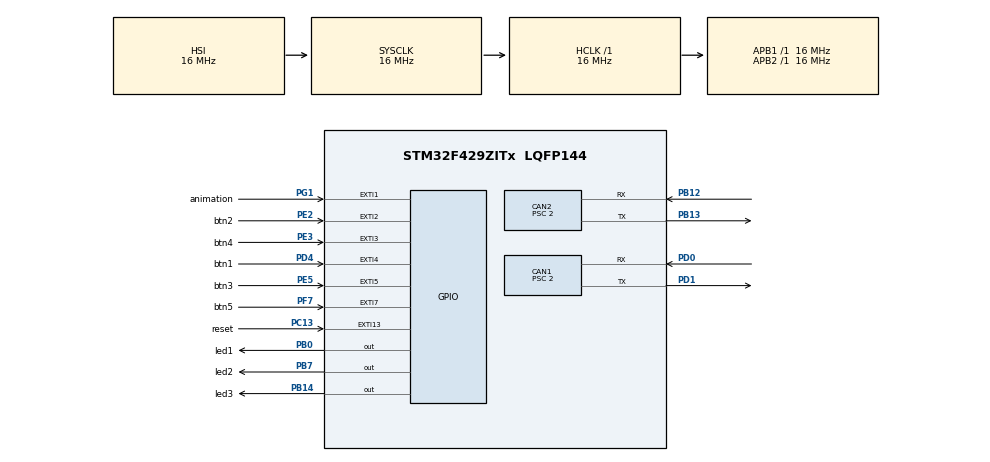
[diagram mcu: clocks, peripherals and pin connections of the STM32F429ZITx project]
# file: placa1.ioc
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Mcu.Family=STM32F4
CAN1.NART=ENABLE
RCC.CortexFreq_Value=16000000
CAN2.CalculateTimeBit=2000.00
PB14.GPIO_Label=led3
NVIC.EXTI3_IRQn=true\:15\:0\:true\:false\:true\:true\:true
PB0.GPIO_Label=led1
PC13.GPIO_Label=reset
PB13.Signal=CAN2_TX
ProjectManager.StackSize=0x400
NVIC.EXTI1_IRQn=true\:15\:0\:true\:false\:true\:true\:true
Mcu.UserConstants=CAN_PLACA1_ADDR,0x5B0;CAN_PLACA2_ADDR,0x5A0
PE5.GPIO_PuPd=GPIO_PULLDOWN
PF7.Signal=GPXTI7
PD4.Signal=GPXTI4
PD0.Signal=CAN1_RX
PE5.Signal=GPXTI5
RCC.AHBFreq_Value=16000000
NVIC.EXTI15_10_IRQn=true\:15\:0\:true\:false\:true\:true\:true
RCC.HSE_VALUE=25000000
PF7.GPIO_Label=btn5
CAN2.Prescaler=2
PE2.Signal=GPXTI2
PB7.Signal=GPIO_Output
PB7.GPIO_Label=led2
CAN1.Prescaler=2
Mcu.Package=LQFP144
PB12.Mode=CAN_Activate
CAN2.BS1=CAN_BS1_13TQ
CAN2.BS2=CAN_BS2_2TQ
PG1.GPIO_PuPd=GPIO_PULLDOWN
NVIC.EXTI2_IRQn=true\:15\:0\:true\:false\:true\:true\:true
PB13.Mode=CAN_Activate
CAN1.CalculateTimeBit=2000.00
PE2.GPIO_Label=btn2
CAN1.CalculateTimeQuantum=125.0
CAN2.CalculateBaudRate=500000
NVIC.EXTI4_IRQn=true\:15\:0\:true\:false\:true\:true\:true
CAN2.NART=ENABLE
PG1.Signal=GPXTI1
PC13.Signal=GPXTI13
CAN2.SJW=CAN_SJW_1TQ
CAN1.CalculateBaudRate=500000
PD1.Signal=CAN1_TX
PD1.GPIO_PuPd=GPIO_PULLUP
PD4.GPIO_PuPd=GPIO_PULLDOWN
CAN1.BS2=CAN_BS2_2TQ
CAN1.BS1=CAN_BS1_13TQ
ProjectManager.TargetToolchain=STM32CubeIDE
RCC.LSE_VALUE=32768
PB14.Signal=GPIO_Output
PE2.GPIO_PuPd=GPIO_PULLDOWN
board=custom
RCC.VCOOutputFreq_Value=192000000
PG1.GPIO_Label=animation
PD1.Mode=CAN_Activate
PB13.GPIO_PuPd=GPIO_PULLUP
RCC.APB2Freq_Value=16000000
PD4.GPIO_Label=btn1
CAN1.Mode=CAN_MODE_SILENT
CAN2.Mode=CAN_MODE_LOOPBACK
CAN2.CalculateTimeQuantum=125.0
PE3.GPIO_PuPd=GPIO_PULLDOWN
Mcu.Name=STM32F429ZITx
PD0.Mode=CAN_Activate
PF7.GPIO_PuPd=GPIO_PULLDOWN
RCC.SYSCLKFreq_VALUE=16000000
PE5.GPIO_Label=btn3
NVIC.EXTI9_5_IRQn=true\:15\:0\:true\:false\:true\:true\:true
ProjectManager.HeapSize=0x200
PD0.GPIO_PuPd=GPIO_PULLUP
RCC.HSI_VALUE=16000000
NVIC.PriorityGroup=NVIC_PRIORITYGROUP_4
PE3.Signal=GPXTI3
PE3.GPIO_Label=btn4
PB12.GPIO_PuPd=GPIO_PULLUP
RCC.APB1Freq_Value=16000000
PB0.Signal=GPIO_Output
PB12.Signal=CAN2_RX
NVIC.CAN1_RX0_IRQn=true\:15\:0\:true\:false\:true\:true\:true

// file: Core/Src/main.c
/* USER CODE BEGIN Header */
/**
  ******************************************************************************
  * @file           : main.c
  * @brief          : Main program body
  ******************************************************************************
  * @attention
  *
  * <h2><center>&copy; Copyright (c) 2021 STMicroelectronics.
  * All rights reserved.</center></h2>
  *
  * This software component is licensed by ST under BSD 3-Clause license,
  * the "License"; You may not use this file except in compliance with the
  * License. You may obtain a copy of the License at:
  *                        opensource.org/licenses/BSD-3-Clause
  *
  ******************************************************************************
  */
/* USER CODE END Header */
#include "main.h"

CAN_HandleTypeDef hcan1;
CAN_HandleTypeDef hcan2;

/* USER CODE BEGIN PV */
CAN_RxHeaderTypeDef rxHeader;	// CAN Bus Receive Header
CAN_TxHeaderTypeDef txHeader;	// CAN Bus Transmit Header
uint8_t canRX[8] = {0, 0, 0};	// CAN Bus Receive Buffer
CAN_FilterTypeDef canFilter;	// CAN Bus Filter
volatile uint32_t canMailboxTX;			// CAN Bus Mail box variable
uint8_t canTX[8] = {0, 0, 0};

uint8_t ledStatus[5] = {0, 0, 0, 0, 0};	// To set or reset placa3 led's
uint8_t ledAnimation = 0;				// Animation for placa3
/* USER CODE END PV */

void SystemClock_Config(void);
static void MX_GPIO_Init(void);
static void MX_CAN2_Init(void);
static void MX_CAN1_Init(void);
/* USER CODE BEGIN PFP */
static void CAN_Messages_Init(void);
/* USER CODE END PFP */

int main(void)
{

  /* MCU Configuration--------------------------------------------------------*/

  /* Reset of all peripherals, Initializes the Flash interface and the Systick. */
  HAL_Init();

  /* Configure the system clock */
  SystemClock_Config();

  /* Initialize all configured peripherals */
  MX_GPIO_Init();
  MX_CAN2_Init();
  MX_CAN1_Init();
  /* USER CODE BEGIN 2 */
  CAN_Messages_Init();

  if (HAL_CAN_ActivateNotification(&hcan1, CAN_IT_RX_FIFO0_MSG_PENDING) != HAL_OK)
  {
	  Error_Handler();
  }

  HAL_CAN_Start(&hcan1);
  HAL_CAN_Start(&hcan2);
  /* USER CODE END 2 */

  /* Infinite loop */
  while (1)
  {

  }
}

void SystemClock_Config(void)
{
  RCC_OscInitTypeDef RCC_OscInitStruct = {0};
  RCC_ClkInitTypeDef RCC_ClkInitStruct = {0};

  /** Configure the main internal regulator output voltage
  */
  __HAL_RCC_PWR_CLK_ENABLE();
  __HAL_PWR_VOLTAGESCALING_CONFIG(PWR_REGULATOR_VOLTAGE_SCALE3);
  /** Initializes the RCC Oscillators according to the specified parameters
  * in the RCC_OscInitTypeDef structure.
  */
  RCC_OscInitStruct.OscillatorType = RCC_OSCILLATORTYPE_HSI;
  RCC_OscInitStruct.HSIState = RCC_HSI_ON;
  RCC_OscInitStruct.HSICalibrationValue = RCC_HSICALIBRATION_DEFAULT;
  RCC_OscInitStruct.PLL.PLLState = RCC_PLL_NONE;
  if (HAL_RCC_OscConfig(&RCC_OscInitStruct) != HAL_OK)
  {
    Error_Handler();
  }
  /** Initializes the CPU, AHB and APB buses clocks
  */
  RCC_ClkInitStruct.ClockType = RCC_CLOCKTYPE_HCLK|RCC_CLOCKTYPE_SYSCLK
                              |RCC_CLOCKTYPE_PCLK1|RCC_CLOCKTYPE_PCLK2;
  RCC_ClkInitStruct.SYSCLKSource = RCC_SYSCLKSOURCE_HSI;
  RCC_ClkInitStruct.AHBCLKDivider = RCC_SYSCLK_DIV1;
  RCC_ClkInitStruct.APB1CLKDivider = RCC_HCLK_DIV1;
  RCC_ClkInitStruct.APB2CLKDivider = RCC_HCLK_DIV1;

  if (HAL_RCC_ClockConfig(&RCC_ClkInitStruct, FLASH_LATENCY_0) != HAL_OK)
  {
    Error_Handler();
  }
}

static void MX_CAN1_Init(void)
{

  hcan1.Instance = CAN1;
  hcan1.Init.Prescaler = 2;
  hcan1.Init.Mode = CAN_MODE_SILENT;
  hcan1.Init.SyncJumpWidth = CAN_SJW_1TQ;
  hcan1.Init.TimeSeg1 = CAN_BS1_13TQ;
  hcan1.Init.TimeSeg2 = CAN_BS2_2TQ;
  hcan1.Init.TimeTriggeredMode = DISABLE;
  hcan1.Init.AutoBusOff = DISABLE;
  hcan1.Init.AutoWakeUp = DISABLE;
  hcan1.Init.AutoRetransmission = ENABLE;
  hcan1.Init.ReceiveFifoLocked = DISABLE;
  hcan1.Init.TransmitFifoPriority = DISABLE;
  if (HAL_CAN_Init(&hcan1) != HAL_OK)
  {
    Error_Handler();
  }

}

static void MX_CAN2_Init(void)
{

  hcan2.Instance = CAN2;
  hcan2.Init.Prescaler = 2;
  hcan2.Init.Mode = CAN_MODE_LOOPBACK;
  hcan2.Init.SyncJumpWidth = CAN_SJW_1TQ;
  hcan2.Init.TimeSeg1 = CAN_BS1_13TQ;
  hcan2.Init.TimeSeg2 = CAN_BS2_2TQ;
  hcan2.Init.TimeTriggeredMode = DISABLE;
  hcan2.Init.AutoBusOff = DISABLE;
  hcan2.Init.AutoWakeUp = DISABLE;
  hcan2.Init.AutoRetransmission = ENABLE;
  hcan2.Init.ReceiveFifoLocked = DISABLE;
  hcan2.Init.TransmitFifoPriority = DISABLE;
  if (HAL_CAN_Init(&hcan2) != HAL_OK)
  {
    Error_Handler();
  }

}

static void MX_GPIO_Init(void)
{
  GPIO_InitTypeDef GPIO_InitStruct = {0};

  /* GPIO Ports Clock Enable */
  __HAL_RCC_GPIOE_CLK_ENABLE();
  __HAL_RCC_GPIOC_CLK_ENABLE();
  __HAL_RCC_GPIOF_CLK_ENABLE();
  __HAL_RCC_GPIOB_CLK_ENABLE();
  __HAL_RCC_GPIOG_CLK_ENABLE();
  __HAL_RCC_GPIOD_CLK_ENABLE();

  /*Configure GPIO pin Output Level */
  HAL_GPIO_WritePin(GPIOB, led1_Pin|led3_Pin|led2_Pin, GPIO_PIN_RESET);

  /*Configure GPIO pins : btn2_Pin btn4_Pin btn3_Pin */
  GPIO_InitStruct.Pin = btn2_Pin|btn4_Pin|btn3_Pin;
  GPIO_InitStruct.Mode = GPIO_MODE_IT_RISING;
  GPIO_InitStruct.Pull = GPIO_PULLDOWN;
  HAL_GPIO_Init(GPIOE, &GPIO_InitStruct);

  /*Configure GPIO pin : reset_Pin */
  GPIO_InitStruct.Pin = reset_Pin;
  GPIO_InitStruct.Mode = GPIO_MODE_IT_RISING;
  GPIO_InitStruct.Pull = GPIO_NOPULL;
  HAL_GPIO_Init(reset_GPIO_Port, &GPIO_InitStruct);

  /*Configure GPIO pin : btn5_Pin */
  GPIO_InitStruct.Pin = btn5_Pin;
  GPIO_InitStruct.Mode = GPIO_MODE_IT_RISING;
  GPIO_InitStruct.Pull = GPIO_PULLDOWN;
  HAL_GPIO_Init(btn5_GPIO_Port, &GPIO_InitStruct);

  /*Configure GPIO pins : led1_Pin led3_Pin led2_Pin */
  GPIO_InitStruct.Pin = led1_Pin|led3_Pin|led2_Pin;
  GPIO_InitStruct.Mode = GPIO_MODE_OUTPUT_PP;
  GPIO_InitStruct.Pull = GPIO_NOPULL;
  GPIO_InitStruct.Speed = GPIO_SPEED_FREQ_LOW;
  HAL_GPIO_Init(GPIOB, &GPIO_InitStruct);

  /*Configure GPIO pin : animation_Pin */
  GPIO_InitStruct.Pin = animation_Pin;
  GPIO_InitStruct.Mode = GPIO_MODE_IT_RISING;
  GPIO_InitStruct.Pull = GPIO_PULLDOWN;
  HAL_GPIO_Init(animation_GPIO_Port, &GPIO_InitStruct);

  /*Configure GPIO pin : btn1_Pin */
  GPIO_InitStruct.Pin = btn1_Pin;
  GPIO_InitStruct.Mode = GPIO_MODE_IT_RISING;
  GPIO_InitStruct.Pull = GPIO_PULLDOWN;
  HAL_GPIO_Init(btn1_GPIO_Port, &GPIO_InitStruct);

  /* EXTI interrupt init*/
  HAL_NVIC_SetPriority(EXTI1_IRQn, 15, 0);
  HAL_NVIC_EnableIRQ(EXTI1_IRQn);

  HAL_NVIC_SetPriority(EXTI2_IRQn, 15, 0);
  HAL_NVIC_EnableIRQ(EXTI2_IRQn);

  HAL_NVIC_SetPriority(EXTI3_IRQn, 15, 0);
  HAL_NVIC_EnableIRQ(EXTI3_IRQn);

  HAL_NVIC_SetPriority(EXTI4_IRQn, 15, 0);
  HAL_NVIC_EnableIRQ(EXTI4_IRQn);

  HAL_NVIC_SetPriority(EXTI9_5_IRQn, 15, 0);
  HAL_NVIC_EnableIRQ(EXTI9_5_IRQn);

  HAL_NVIC_SetPriority(EXTI15_10_IRQn, 15, 0);
  HAL_NVIC_EnableIRQ(EXTI15_10_IRQn);

}

/* USER CODE BEGIN 4 */
static void CAN_Messages_Init(void)
{
  canFilter.FilterBank = 0;
  canFilter.FilterMode = CAN_FILTERMODE_IDMASK;
  canFilter.FilterFIFOAssignment = CAN_RX_FIFO0;
  canFilter.FilterIdHigh = CAN_PLACA2_ADDR << 5; // 5 bits unused because 11-bit id
  canFilter.FilterIdLow = 0;
  canFilter.FilterMaskIdHigh = 0xFFC0;
  canFilter.FilterMaskIdLow = 0;
  canFilter.FilterScale = CAN_FILTERSCALE_32BIT;
  canFilter.FilterActivation = ENABLE;
  canFilter.SlaveStartFilterBank = 14;

  if (HAL_CAN_ConfigFilter(&hcan1, &canFilter) != HAL_OK)
  {
	 Error_Handler();
  }

  txHeader.DLC = 3; // Number of bites to be transmitted max- 8
  txHeader.IDE = CAN_ID_STD;
  txHeader.RTR = CAN_RTR_DATA;
  txHeader.StdId = CAN_PLACA1_ADDR;
  txHeader.ExtId = 0;
}

void HAL_CAN_RxFifo0MsgPendingCallback(CAN_HandleTypeDef *hcan)
{
	// Receive CAN bus message to canRX buffer
	HAL_CAN_GetRxMessage(hcan, CAN_RX_FIFO0, &rxHeader, canRX);

	if (canRX[0] == 0x2U)
	{
		HAL_GPIO_WritePin(led1_GPIO_Port, led1_Pin, GPIO_PIN_SET);
		HAL_GPIO_WritePin(led2_GPIO_Port, led2_Pin, GPIO_PIN_SET);
		HAL_GPIO_WritePin(led3_GPIO_Port, led3_Pin, GPIO_PIN_SET);
		HAL_Delay(1000);
	}

}
/* USER CODE END 4 */

void Error_Handler(void)
{
  __disable_irq();
  while (1)
  {
  }
}

/************************ (C) COPYRIGHT STMicroelectronics *****END OF FILE****/
